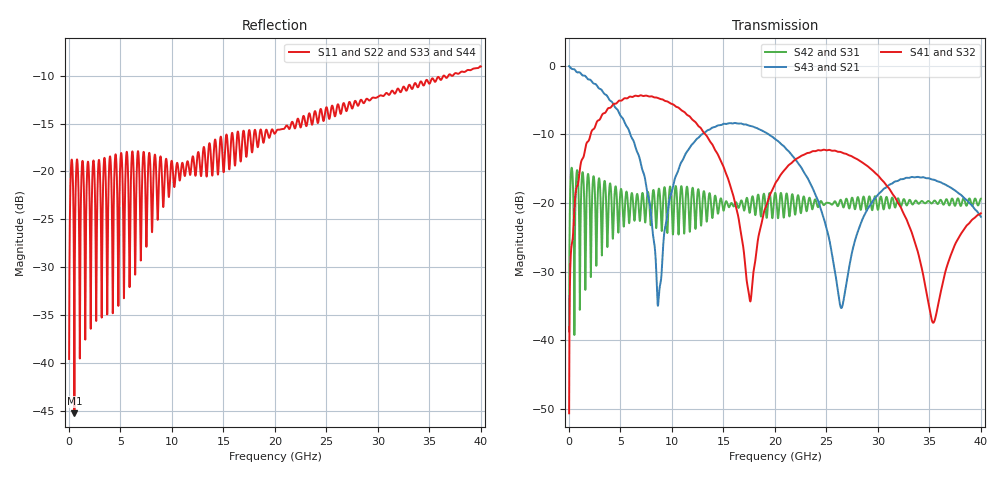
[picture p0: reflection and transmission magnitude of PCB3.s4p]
! Touchstone file exported from Ansys Full-Wave Spice
! Project: PCB3
!  Design: unknown
! Creation time: Fri Nov 06 17:16:00 2026
! Notes: ! Touchstone(R) file created by SIwave 2025 R1
!  : ! Touchstone(R) file created on Fri Nov  6 17:16:00 2026
# HZ S MA R 50
! Modal data exported
! Port[1] = C_N_J1_2
! Port[2] = C_N_J2_1
! Port[3] = C_P_J1_1
! Port[4] = C_P_J2_2
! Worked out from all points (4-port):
!   4000 points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, 10 MHz to 40 GHz, reference 50 ohm
!   strongest paths, dB at 10 MHz, 10.01 GHz, 20.01 GHz, 30.01 GHz, 40 GHz:
!     S41: -50.7, -5.6, -17.2, -16.0, -21.5
!     S32: -50.7, -5.6, -17.2, -16.0, -21.5
!     S43: -0.1, -18.2, -10.7, -18.8, -22.0
!     S21: -0.1, -18.2, -10.7, -18.8, -22.0
!     S42: -38.8, -21.9, -18.5, -21.0, -19.4
!     S31: -38.8, -21.9, -18.5, -21.0, -19.4
!   lowest |S11| = -45.2 dB at 520 MHz (marker M1), VSWR 1.01, Z = 50.5 + j0.0547 ohm
!   |S11| at or under -10 dB: start of sweep to 36.84 GHz; 37.1392 GHz to 37.28255 GHz (143.4 MHz wide, 0.385 % of centre)
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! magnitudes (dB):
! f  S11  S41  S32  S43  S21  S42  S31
! 10 MHz  -39.5  -50.7  -50.7  -0.1  -0.1  -38.8  -38.8
! 520 MHz  -45.2  -20.9  -20.9  -0.5  -0.5  -39.2  -39.2
! 8.71 GHz  -21.9  -4.8  -4.8  -33.9  -33.9  -18.0  -18.0
! 17.55 GHz  -15.8  -34.1  -34.1  -8.7  -8.7  -21.4  -21.4
! 26.44 GHz  -13.9  -12.6  -12.6  -35.3  -35.3  -19.6  -19.6
! 35.36 GHz  -10.3  -37.5  -37.5  -16.6  -16.6  -19.9  -19.9
! 40 GHz  -9.1  -21.5  -21.5  -22.0  -22.0  -19.4  -19.4
